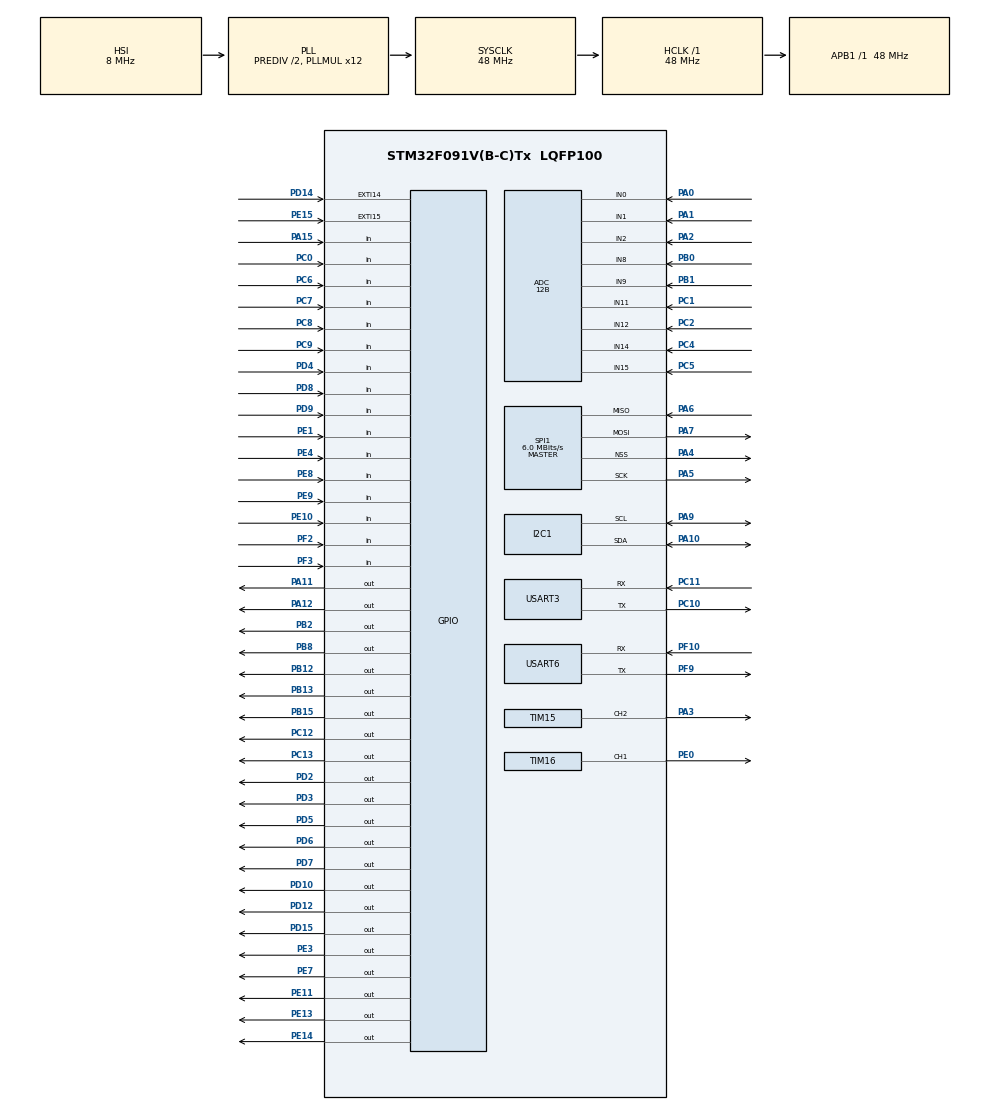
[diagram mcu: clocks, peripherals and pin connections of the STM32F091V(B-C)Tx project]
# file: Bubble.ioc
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ADC.ClockPrescaler=ADC_CLOCK_ASYNC_DIV1
ADC.ContinuousConvMode=ENABLE
ADC.DMAContinuousRequests=ENABLE
ADC.DataAlign=ADC_DATAALIGN_RIGHT
ADC.DiscontinuousConvMode=DISABLE
ADC.EOCSelection=ADC_EOC_SINGLE_CONV
ADC.EnableAnalogWatchDog=false
ADC.ExternalTrigConv=ADC_SOFTWARE_START
ADC.ExternalTrigConvEdge=ADC_EXTERNALTRIGCONVEDGE_NONE
ADC.LowPowerAutoPowerOff=DISABLE
ADC.LowPowerAutoWait=DISABLE
ADC.Overrun=ADC_OVR_DATA_PRESERVED
ADC.Resolution=ADC_RESOLUTION_12B
ADC.SamplingTime=ADC_SAMPLETIME_13CYCLES_5
ADC.ScanConvMode=ADC_SCAN_DIRECTION_FORWARD
Dma.ADC.0.Direction=DMA_PERIPH_TO_MEMORY
Dma.ADC.0.Instance=DMA1_Channel1
Dma.ADC.0.MemDataAlignment=DMA_MDATAALIGN_HALFWORD
Dma.ADC.0.MemInc=DMA_MINC_ENABLE
Dma.ADC.0.Mode=DMA_CIRCULAR
Dma.ADC.0.PeriphDataAlignment=DMA_PDATAALIGN_HALFWORD
Dma.ADC.0.PeriphInc=DMA_PINC_DISABLE
Dma.ADC.0.Priority=DMA_PRIORITY_LOW
Dma.Request0=ADC
Mcu.Family=STM32F0
Mcu.Name=STM32F091V(B-C)Tx
Mcu.Package=LQFP100
NVIC.DMA1_Ch1_IRQn=true\:0\:0\:false\:false\:true\:false\:true\:true
NVIC.EXTI4_15_IRQn=true\:0\:0\:false\:false\:true\:true\:true\:true
PA0.Mode=IN0
PA0.Signal=ADC_IN0
PA1.Mode=IN1
PA1.Signal=ADC_IN1
PA10.GPIO_Pu=GPIO_PULLUP
PA10.Mode=I2C
PA10.Signal=I2C1_SDA
PA11.Signal=GPIO_Output
PA12.Signal=GPIO_Output
PA13.Mode=Serial_Wire
PA13.Signal=SYS_SWDIO
PA14.Mode=Serial_Wire
PA14.Signal=SYS_SWCLK
PA15.Signal=GPIO_Input
PA2.Mode=IN2
PA2.Signal=ADC_IN2
PA3.Signal=S_TIM15_CH2
PA4.Mode=NSS_Signal_Hard_Output
PA4.Signal=SPI1_NSS
PA5.Mode=Full_Duplex_Master
PA5.Signal=SPI1_SCK
PA6.Mode=Full_Duplex_Master
PA6.Signal=SPI1_MISO
PA7.Mode=Full_Duplex_Master
PA7.Signal=SPI1_MOSI
PA9.GPIO_Pu=GPIO_PULLUP
PA9.Mode=I2C
PA9.Signal=I2C1_SCL
PB0.Mode=IN8
PB0.Signal=ADC_IN8
PB1.Mode=IN9
PB1.Signal=ADC_IN9
PB12.Signal=GPIO_Output
PB13.Signal=GPIO_Output
PB15.Signal=GPIO_Output
PB2.Signal=GPIO_Output
PB8.Signal=GPIO_Output
PC0.Signal=GPIO_Input
PC1.Mode=IN11
PC1.Signal=ADC_IN11
PC10.Mode=Asynchronous
PC10.Signal=USART3_TX
PC11.Mode=Asynchronous
PC11.Signal=USART3_RX
PC12.Signal=GPIO_Output
PC13.Signal=GPIO_Output
PC2.Mode=IN12
PC2.Signal=ADC_IN12
PC4.Mode=IN14
PC4.Signal=ADC_IN14
PC5.Mode=IN15
PC5.Signal=ADC_IN15
PC6.Signal=GPIO_Input
PC7.Signal=GPIO_Input
PC8.Signal=GPIO_Input
PC9.Signal=GPIO_Input
PD10.Signal=GPIO_Output
PD12.Signal=GPIO_Output
PD14.Signal=GPXTI14
PD15.Signal=GPIO_Output
PD2.Signal=GPIO_Output
PD3.Signal=GPIO_Output
PD4.Signal=GPIO_Input
PD5.Signal=GPIO_Output
PD6.Signal=GPIO_Output
PD7.Signal=GPIO_Output
PD8.Signal=GPIO_Input
PD9.Signal=GPIO_Input
PE0.Signal=S_TIM16_CH1
PE1.Signal=GPIO_Input
PE10.Signal=GPIO_Input
PE11.Signal=GPIO_Output
PE13.Signal=GPIO_Output
PE14.Signal=GPIO_Output
PE15.Signal=GPXTI15
PE3.Signal=GPIO_Output
PE4.Signal=GPIO_Input
PE7.Signal=GPIO_Output
PE8.Signal=GPIO_Input
PE9.Signal=GPIO_Input
PF10.Mode=Asynchronous
PF10.Signal=USART6_RX
PF11BOOT0.GPIO_PuPd=GPIO_NOPULL
PF11BOOT0.Signal=GPIO_Output
PF2.Signal=GPIO_Input
PF3.Signal=GPIO_Input
PF9.Mode=Asynchronous
PF9.Signal=USART6_TX
ProjectManager.HeapSize=0x200
ProjectManager.StackSize=0x400
ProjectManager.TargetToolchain=STM32CubeIDE
RCC.AHBFreq_Value=48000000
RCC.APB1Freq_Value=48000000
RCC.APB1TimFreq_Value=48000000
RCC.HCLKFreq_Value=48000000
RCC.PLLDivider=RCC_PREDIV_DIV2
RCC.PLLMUL=RCC_PLL_MUL12
RCC.SYSCLKFreq_VALUE=48000000
RCC.SYSCLKSource=RCC_SYSCLKSOURCE_PLLCLK
SH.S_TIM15_CH2.0=TIM15_CH2,PWM Generation2 CH2
SH.S_TIM16_CH1.0=TIM16_CH1,PWM Generation1 CH1
SPI1.BaudRatePrescaler=SPI_BAUDRATEPRESCALER_8
SPI1.CalculateBaudRate=6.0 MBits/s
SPI1.Direction=SPI_DIRECTION_2LINES
SPI1.Mode=SPI_MODE_MASTER
SPI1.VirtualNSS=VM_NSSHARD
SPI1.VirtualType=VM_MASTER
TIM15.Channel-PWM\ Generation2\ CH2=TIM_CHANNEL_2
TIM15.OCMode_PWM-PWM\ Generation2\ CH2=TIM_OCMODE_PWM2
TIM15.Period=16
TIM15.Prescaler=48000
TIM15.Pulse-PWM\ Generation2\ CH2=8
TIM16.Channel=TIM_CHANNEL_1
TIM16.OCMode_PWM=TIM_OCMODE_PWM2
TIM16.Period=1000
TIM16.Prescaler=48
TIM16.Pulse=500
USART3.VirtualMode-Asynchronous=VM_ASYNC
USART3.WordLength=WORDLENGTH_8B
USART6.VirtualMode-Asynchronous=VM_ASYNC
USART6.WordLength=WORDLENGTH_8B
VP_IWDG_VS_IWDG.Mode=IWDG_Activate
VP_TIM15_VS_ClockSourceINT.Mode=Internal
VP_TIM16_VS_ClockSourceINT.Mode=Enable_Timer
board=Controller

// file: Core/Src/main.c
/**
  ******************************************************************************
  * @file           : main.c
  * @brief          : Main program body
  ******************************************************************************
  ******************************************************************************
  */
#include "main.h"
#include "stm32f0xx_hal.h"
#include "adc.h"
#include "dma.h"
#include "i2c.h"
#include "iwdg.h"
#include "spi.h"
#include "tim.h"
#include "usart.h"
#include "gpio.h"
#include "time.h"

/* USER CODE BEGIN Includes */
#include "Framework.h"
#include "CommManager.h"
#include "LedDriver.h"
#include "IceBoxx.h"
#include "NoTouch.h"
#include "UVLamp.h"
#include "Heater.h"

/* USER CODE END Includes */

/* USER CODE BEGIN PV */
/* Private variables ---------------------------------------------------------*/
#define APPLICATION_HW_TEST			0		///< Activate specific hardware startup tests.

#if (APPLICATION_HW_TEST == 1)
#warning "*** Application HW Test is active ***"
#include "MCUMap.h"
uint16_t	u16ADCValueRaw1, u16ADCValueRaw2, u16ADCValueRaw3, u16ADCValueRaw4, u16ADCValueRaw5, u16ADCValueRaw6, u16ADCValueRaw7, u16ADCValueRaw8, u16ADCValueRaw9;
uint16_t	u16ADCValueAvg1, u16ADCValueAvg2, u16ADCValueAvg3, u16ADCValueAvg4, u16ADCValueAvg5, u16ADCValueAvg6, u16ADCValueAvg7, u16ADCValueAvg8, u16ADCValueAvg9;
bool		bState1, bState2, bState3, bState4, bState5, bState6, bState7, bState8, bState9, bState10, bState11, bState12, bState13;
#endif

/* USER CODE END PV */

void SystemClock_Config(void);

/* USER CODE BEGIN PFP */
/* Private function prototypes -----------------------------------------------*/

void ApplicationFatalError(void);

#if (APPLICATION_HW_TEST == 1)
void ApplicationHWTest(void);
#endif

/* USER CODE END PFP */

/* USER CODE BEGIN 0 */
////////////////////////////////////////////////////////////////////////////////
/// \brief		ApplicationFatalError
/// \details	Function managing the fatal error mode of the application.
///	\warning	This function is blocking and should never return.
///
/// \private
/// \param		None.
/// \return		void.
////////////////////////////////////////////////////////////////////////////////
void ApplicationFatalError(void)
{
	// Infinite loop to prevent malfunctions.
	while (1)
	{
		FrameworkFatalErrorTask();
	}
}
////////////////////////////////////////////////////////////////////////////////
/// \brief		ApplicationHWTest
/// \details	Function reading input data to validate the hardware.
///
/// \private
/// \param		None.
/// \return		void.
////////////////////////////////////////////////////////////////////////////////
#if (APPLICATION_HW_TEST == 1)
void ApplicationHWTest(void)
{
	// Read raw analogic values.
	HAL_ADC_GetValueRaw(HAL_ADC_AI_TEMP_WATER_HOT_ADJUST, &u16ADCValueRaw1);
	HAL_ADC_GetValueRaw(HAL_ADC_AI_TEMP_WATER_COLD_ADJUST, &u16ADCValueRaw2);
	HAL_ADC_GetValueRaw(HAL_ADC_AI_MODEL_ID_CH, &u16ADCValueRaw3);
	HAL_ADC_GetValueRaw(HAL_ADC_AI_HW_VER_MAJOR, &u16ADCValueRaw4);
	HAL_ADC_GetValueRaw(HAL_ADC_AI_HW_VER_MINOR, &u16ADCValueRaw5);
	HAL_ADC_GetValueRaw(HAL_ADC_AI_TEMP_WATER_COLD_1, &u16ADCValueRaw6);
	HAL_ADC_GetValueRaw(HAL_ADC_AI_TEMP_WATER_COLD_2, &u16ADCValueRaw7);
	HAL_ADC_GetValueRaw(HAL_ADC_AI_INTERNAL_C02_CORE_TEMP, &u16ADCValueRaw8);
	HAL_ADC_GetValueRaw(HAL_ADC_AI_TEMP_WATER_HOT, &u16ADCValueRaw9);

	// Read averaged analogic values.
	HAL_ADC_GetValueAveraged(HAL_ADC_AI_TEMP_WATER_HOT_ADJUST, &u16ADCValueAvg1);
	HAL_ADC_GetValueAveraged(HAL_ADC_AI_TEMP_WATER_COLD_ADJUST, &u16ADCValueAvg2);
	HAL_ADC_GetValueAveraged(HAL_ADC_AI_MODEL_ID_CH, &u16ADCValueAvg3);
	HAL_ADC_GetValueAveraged(HAL_ADC_AI_HW_VER_MAJOR, &u16ADCValueAvg4);
	HAL_ADC_GetValueAveraged(HAL_ADC_AI_HW_VER_MINOR, &u16ADCValueAvg5);
	HAL_ADC_GetValueAveraged(HAL_ADC_AI_TEMP_WATER_COLD_1, &u16ADCValueAvg6);
	HAL_ADC_GetValueAveraged(HAL_ADC_AI_TEMP_WATER_COLD_2, &u16ADCValueAvg7);
	HAL_ADC_GetValueAveraged(HAL_ADC_AI_INTERNAL_C02_CORE_TEMP, &u16ADCValueAvg8);
	HAL_ADC_GetValueAveraged(HAL_ADC_AI_TEMP_WATER_HOT, &u16ADCValueAvg9);

	// Read digital input.
	GPIOGetDDI(GPIO_DDI_PRESENCE_ICE, &bState1);
	GPIOGetDDI(GPIO_DDI_PRESENCE_FLOOD_BOTTOM, &bState2);
	GPIOGetDDI(GPIO_DDI_PRESENCE_FLOOD_TOP, &bState3);
	GPIOGetDDI(GPIO_DDI_WATER_LEVEL_LOW, &bState4);
	GPIOGetDDI(GPIO_DDI_WATER_LEVEL_HIGH, &bState5);
	GPIOGetDDI(GPIO_DDI_PRESSURE_CO2, &bState6);
	GPIOGetDDI(GPIO_DDI_DOOR_OPEN, &bState7);
	GPIOGetDDI(GPIO_DDI_BUTTON_1, &bState8);
	GPIOGetDDI(GPIO_DDI_BUTTON_2, &bState9);
	GPIOGetDDI(GPIO_DDI_BUTTON_3, &bState10);
	GPIOGetDDI(GPIO_DDI_BUTTON_4, &bState11);
	GPIOGetDDI(GPIO_DDI_EMPTY_BOTTLE, &bState12);
	GPIOGetDDI(GPIO_DDI_CAP_BUT_INTERRUPT, &bState13);

	// Set digital outputs.
	/*
	HAL_GPIO_WritePin(MCUMAP_DO_LED_NIGHT_PERIPH, MCUMAP_DO_LED_NIGHT_PIN, GPIO_PIN_SET);			// White Led
	HAL_GPIO_WritePin(MCUMAP_DO_LED_NIGHT_PERIPH, MCUMAP_DO_LED_NIGHT_PIN, GPIO_PIN_RESET);			// White Led
	HAL_GPIO_WritePin(MCUMAP_DO_LED_BLUE_PERIPH, MCUMAP_DO_LED_BLUE_PIN, GPIO_PIN_SET);				// Not Initialized
	HAL_GPIO_WritePin(MCUMAP_DO_LED_BLUE_PERIPH, MCUMAP_DO_LED_BLUE_PIN, GPIO_PIN_RESET);			// Not Initialized
	HAL_GPIO_WritePin(MCUMAP_DO_LED_GREEN_BI_PERIPH, MCUMAP_DO_LED_GREEN_BI_PIN, GPIO_PIN_SET);
	HAL_GPIO_WritePin(MCUMAP_DO_LED_GREEN_BI_PERIPH, MCUMAP_DO_LED_GREEN_BI_PIN, GPIO_PIN_RESET);
	HAL_GPIO_WritePin(MCUMAP_DO_LED_RED_PERIPH, MCUMAP_DO_LED_RED_PIN, GPIO_PIN_SET);				// Blue Led
	HAL_GPIO_WritePin(MCUMAP_DO_LED_RED_PERIPH, MCUMAP_DO_LED_RED_PIN, GPIO_PIN_RESET);				// Blue Led
	HAL_GPIO_WritePin(MCUMAP_DO_LED_YELLOW_PERIPH, MCUMAP_DO_LED_YELLOW_PIN, GPIO_PIN_SET);
	HAL_GPIO_WritePin(MCUMAP_DO_LED_YELLOW_PERIPH, MCUMAP_DO_LED_YELLOW_PIN, GPIO_PIN_RESET);
	HAL_GPIO_WritePin(MCUMAP_DO_PUMP_RECIR_PERIPH, MCUMAP_DO_PUMP_RECIR_PIN, GPIO_PIN_SET);
	HAL_GPIO_WritePin(MCUMAP_DO_PUMP_RECIR_PERIPH, MCUMAP_DO_PUMP_RECIR_PIN, GPIO_PIN_RESET);
	HAL_GPIO_WritePin(MCUMAP_DO_HEATBAND_PERIPH, MCUMAP_DO_HEATBAND_PIN, GPIO_PIN_SET);
	HAL_GPIO_WritePin(MCUMAP_DO_HEATBAND_PERIPH, MCUMAP_DO_HEATBAND_PIN, GPIO_PIN_RESET);
	HAL_GPIO_WritePin(MCUMAP_DO_PUMP_LOW_PERIPH, MCUMAP_DO_PUMP_LOW_PIN, GPIO_PIN_SET);
	HAL_GPIO_WritePin(MCUMAP_DO_PUMP_LOW_PERIPH, MCUMAP_DO_PUMP_LOW_PIN, GPIO_PIN_RESET);
	HAL_GPIO_WritePin(MCUMAP_DO_PUMP_HIGH_PERIPH, MCUMAP_DO_PUMP_HIGH_PIN, GPIO_PIN_SET);
	HAL_GPIO_WritePin(MCUMAP_DO_PUMP_HIGH_PERIPH, MCUMAP_DO_PUMP_HIGH_PIN, GPIO_PIN_RESET);
	HAL_GPIO_WritePin(MCUMAP_DO_VENTILATOR_PERIPH, MCUMAP_DO_VENTILATOR_PIN, GPIO_PIN_SET);
	HAL_GPIO_WritePin(MCUMAP_DO_VENTILATOR_PERIPH, MCUMAP_DO_VENTILATOR_PIN, GPIO_PIN_RESET);
	HAL_GPIO_WritePin(MCUMAP_DO_3WAY_VALVE_PERIPH, MCUMAP_DO_3WAY_VALVE_PIN, GPIO_PIN_SET);
	HAL_GPIO_WritePin(MCUMAP_DO_3WAY_VALVE_PERIPH, MCUMAP_DO_3WAY_VALVE_PIN, GPIO_PIN_RESET);
	HAL_GPIO_WritePin(MCUMAP_DO_WIFI_BLE_ENABLE_PERIPH, MCUMAP_DO_WIFI_BLE_ENABLE_PIN, GPIO_PIN_SET);
	HAL_GPIO_WritePin(MCUMAP_DO_WIFI_BLE_ENABLE_PERIPH, MCUMAP_DO_WIFI_BLE_ENABLE_PIN, GPIO_PIN_RESET);
	HAL_GPIO_WritePin(MCUMAP_DO_WIFI_BLE_RESET_PERIPH, MCUMAP_DO_WIFI_BLE_RESET_PIN, GPIO_PIN_SET);
	HAL_GPIO_WritePin(MCUMAP_DO_WIFI_BLE_RESET_PERIPH, MCUMAP_DO_WIFI_BLE_RESET_PIN, GPIO_PIN_RESET);
	HAL_GPIO_WritePin(MCUMAP_DO_SLND_WATER_COLD_PERIPH, MCUMAP_DO_SLND_WATER_COLD_PIN, GPIO_PIN_SET);
	HAL_GPIO_WritePin(MCUMAP_DO_SLND_WATER_COLD_PERIPH, MCUMAP_DO_SLND_WATER_COLD_PIN, GPIO_PIN_RESET);
	HAL_GPIO_WritePin(MCUMAP_DO_SLND_WATER_HOT_PERIPH, MCUMAP_DO_SLND_WATER_HOT_PIN, GPIO_PIN_SET);
	HAL_GPIO_WritePin(MCUMAP_DO_SLND_WATER_HOT_PERIPH, MCUMAP_DO_SLND_WATER_HOT_PIN, GPIO_PIN_RESET);
	HAL_GPIO_WritePin(MCUMAP_DO_SLND_WATER_TEMPERATE_PERIPH, MCUMAP_DO_SLND_WATER_TEMPERATE_PIN, GPIO_PIN_SET);
	HAL_GPIO_WritePin(MCUMAP_DO_SLND_WATER_TEMPERATE_PERIPH, MCUMAP_DO_SLND_WATER_TEMPERATE_PIN, GPIO_PIN_RESET);
	HAL_GPIO_WritePin(MCUMAP_DO_SLND_AQUEDUCT_PERIPH, MCUMAP_DO_SLND_AQUEDUCT_PIN, GPIO_PIN_SET);
	HAL_GPIO_WritePin(MCUMAP_DO_SLND_AQUEDUCT_PERIPH, MCUMAP_DO_SLND_AQUEDUCT_PIN, GPIO_PIN_RESET);
	HAL_GPIO_WritePin(MCUMAP_DO_SLND_CO2_ON_PERIPH, MCUMAP_DO_SLND_CO2_ON_PIN, GPIO_PIN_SET);
	HAL_GPIO_WritePin(MCUMAP_DO_SLND_CO2_ON_PERIPH, MCUMAP_DO_SLND_CO2_ON_PIN, GPIO_PIN_RESET);

	// For the compressor, if it is re-activated too fast, the internal fuse will blow and reset itself after some time.
	HAL_GPIO_WritePin(MCUMAP_DO_COMPRESSOR_PERIPH, MCUMAP_DO_COMPRESSOR_PIN, GPIO_PIN_SET);
	HAL_GPIO_WritePin(MCUMAP_DO_COMPRESSOR_PERIPH, MCUMAP_DO_COMPRESSOR_PIN, GPIO_PIN_RESET);
*/
}
#endif

/* USER CODE END 0 */

int main(void)
{
  /* USER CODE BEGIN 1 */
  //FrameworkModelID_e modelID = FRAMEWORK_MODEL_ID_UNKNOWN;

  /* USER CODE END 1 */

  /* MCU Configuration----------------------------------------------------------*/

  /* Reset of all peripherals, Initializes the Flash interface and the Systick. */
	HAL_Init();

  /* Configure the system clock */
  SystemClock_Config();

  /* Initialize all configured peripherals */
  MX_GPIO_Init();
  MX_DMA_Init();
  MX_ADC_Init();
  MX_I2C1_Init();
  MX_IWDG_Init();
  MX_SPI1_Init();
  MX_TIM15_Init();
  MX_TIM16_Init();
  MX_USART3_UART_Init();
  MX_USART6_UART_Init();
  /* USER CODE BEGIN 2 */

	// Modules initialization.
	if (FrameworkInit() == false) ApplicationFatalError();
	if (CommManagerInit() == false) ApplicationFatalError();
	if (NoTouchInit() == false) ApplicationFatalError();
	if (IceBoxxInit() == false) ApplicationFatalError();
	if (UVLampInit() == false) ApplicationFatalError();
	if (HeaterInit() == false) ApplicationFatalError();

	// Allow time for electronics to startup correctly.
  	//HAL_Delay(100);

	// Unit tests.
#if (FRAMEWORK_UNIT_TEST == 1)
	if (FrameworkUnitTest() == false) ApplicationFatalError();
#endif
#if (BOTTOMLOAD_UNIT_TEST == 1)
	if (BottomLoadUnitTest() == false) ApplicationFatalError();
#endif
#if (LEDDRIVER_UNIT_TEST == 1)
	if (LedDriverUnitTest() == false) ApplicationFatalError();
#endif

  /* USER CODE END 2 */

  /* Infinite loop */
  /* USER CODE BEGIN WHILE */

	// Start the probe polarity toggle.
	MX_PROBE_POL_PWM_START();
	//MX_BUZZER_PWM_START();
	// Forever loop.
	while (1)
	{
		//if (NoTouchTask() 	== false) ApplicationFatalError();
		if (FrameworkTask() == false) ApplicationFatalError();
		if (IceBoxxTask() 	== false) ApplicationFatalError();
		//if (UVLampTask() 	== false) ApplicationFatalError();
		//if (HeaterTask() 	== false) ApplicationFatalError();

#if (APPLICATION_HW_TEST == 1)
		// Hardware testing.
		ApplicationHWTest();
		continue;
#endif
	/* USER CODE END WHILE */

	}
}

void SystemClock_Config(void)
{

  RCC_OscInitTypeDef RCC_OscInitStruct;
  RCC_ClkInitTypeDef RCC_ClkInitStruct;
  RCC_PeriphCLKInitTypeDef PeriphClkInit;

    /**Initializes the CPU, AHB and APB busses clocks
    */
  RCC_OscInitStruct.OscillatorType = RCC_OSCILLATORTYPE_HSI|RCC_OSCILLATORTYPE_HSI14
                              |RCC_OSCILLATORTYPE_LSI;
  RCC_OscInitStruct.HSIState = RCC_HSI_ON;
  RCC_OscInitStruct.HSI14State = RCC_HSI14_ON;
  RCC_OscInitStruct.HSICalibrationValue = 16;
  RCC_OscInitStruct.HSI14CalibrationValue = 16;
  RCC_OscInitStruct.LSIState = RCC_LSI_ON;
  RCC_OscInitStruct.PLL.PLLState = RCC_PLL_ON;
  RCC_OscInitStruct.PLL.PLLSource = RCC_PLLSOURCE_HSI;
  RCC_OscInitStruct.PLL.PLLMUL = RCC_PLL_MUL12;
  RCC_OscInitStruct.PLL.PREDIV = RCC_PREDIV_DIV2;
  if (HAL_RCC_OscConfig(&RCC_OscInitStruct) != HAL_OK)
  {
    _Error_Handler(__FILE__, __LINE__);
  }

    /**Initializes the CPU, AHB and APB busses clocks
    */
  RCC_ClkInitStruct.ClockType = RCC_CLOCKTYPE_HCLK|RCC_CLOCKTYPE_SYSCLK
                              |RCC_CLOCKTYPE_PCLK1;
  RCC_ClkInitStruct.SYSCLKSource = RCC_SYSCLKSOURCE_PLLCLK;
  RCC_ClkInitStruct.AHBCLKDivider = RCC_SYSCLK_DIV1;
  RCC_ClkInitStruct.APB1CLKDivider = RCC_HCLK_DIV1;

  if (HAL_RCC_ClockConfig(&RCC_ClkInitStruct, FLASH_LATENCY_1) != HAL_OK)
  {
    _Error_Handler(__FILE__, __LINE__);
  }

  PeriphClkInit.PeriphClockSelection = RCC_PERIPHCLK_USART3|RCC_PERIPHCLK_I2C1;
  PeriphClkInit.Usart3ClockSelection = RCC_USART3CLKSOURCE_PCLK1;
  PeriphClkInit.I2c1ClockSelection = RCC_I2C1CLKSOURCE_HSI;
  if (HAL_RCCEx_PeriphCLKConfig(&PeriphClkInit) != HAL_OK)
  {
    _Error_Handler(__FILE__, __LINE__);
  }

    /**Configure the Systick interrupt time
    */
  HAL_SYSTICK_Config(HAL_RCC_GetHCLKFreq()/1000);

    /**Configure the Systick
    */
  HAL_SYSTICK_CLKSourceConfig(SYSTICK_CLKSOURCE_HCLK);

  /* SysTick_IRQn interrupt configuration */
  HAL_NVIC_SetPriority(SysTick_IRQn, 0, 0);
}

void _Error_Handler(char *file, int line)
{
  while(1)
  {
  }
}

/************************ (C) COPYRIGHT STMicroelectronics *****END OF FILE****/
